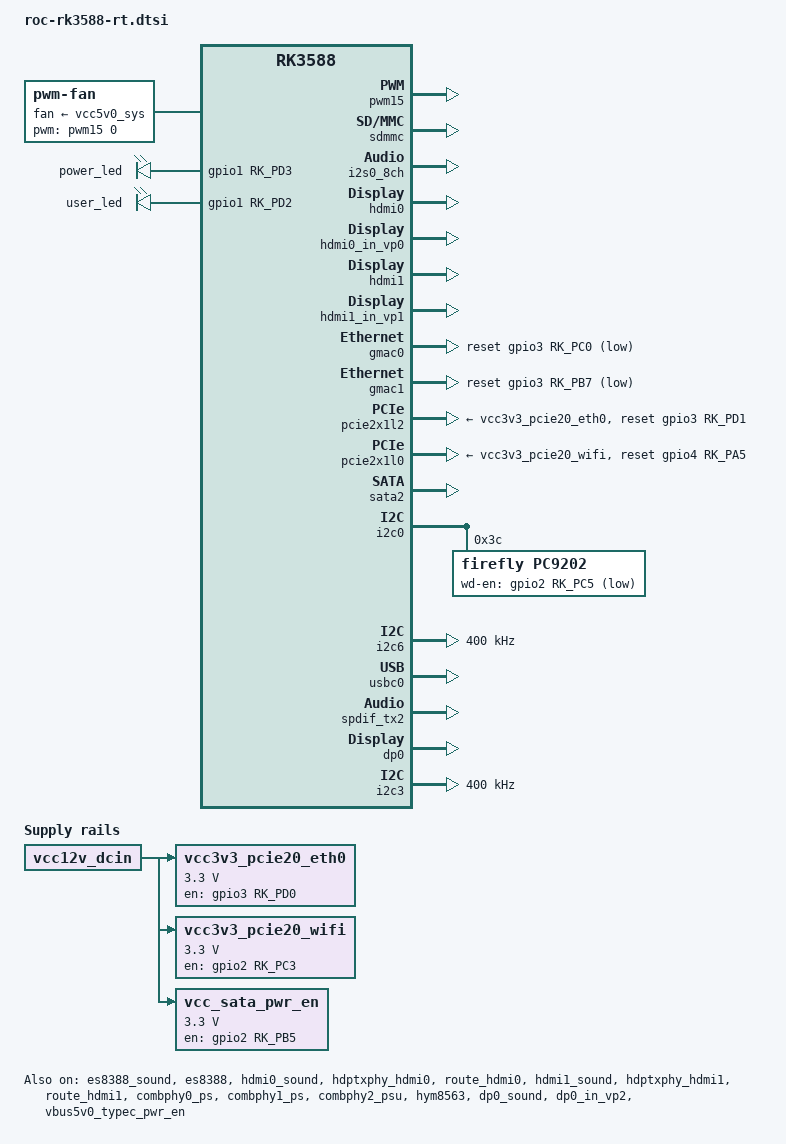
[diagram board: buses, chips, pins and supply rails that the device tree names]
// SPDX-License-Identifier: (GPL-2.0+ OR MIT)
/*
 * Copyright (c) 2021 Rockchip Electronics Co., Ltd.
 *
 */
 
 #define rk3588
 #include "rk3588-firefly-port.dtsi"
 #include "rk3588-diff.dtsi"
 

 / {
	chosen: chosen {
		bootargs = "earlycon=uart8250,mmio32,0xfeb50000 console=ttyFIQ0 irqchip.gicv3_pseudo_nmi=0 root=PARTLABEL=rootfs rootfstype=ext4 ro rootwait overlayroot=device:dev=PARTLABEL=userdata,fstype=ext4,mkfs=1 coherent_pool=1m systemd.gpt_auto=0 cgroup_enable=memory swapaccount=1 net.ifnames=0";
	};

	vcc3v3_pcie20_eth0: vcc3v3-pcie20-eth0 {
		compatible = "regulator-fixed";
		regulator-name = "vcc3v3_pcie20_eth0";
		regulator-min-microvolt = <3300000>;
		regulator-max-microvolt = <3300000>;
		enable-active-high;
		gpios = <&gpio3 RK_PD0 GPIO_ACTIVE_HIGH>;
		startup-delay-us = <5000>;
		vin-supply = <&vcc12v_dcin>;
	};
        vcc3v3_pcie20_wifi: vcc3v3-pcie20-wifi {
                compatible = "regulator-fixed";
                regulator-name = "vcc3v3_pcie20_wifi";
                regulator-min-microvolt = <3300000>;
                regulator-max-microvolt = <3300000>;
                enable-active-high;
                gpios = <&gpio2 RK_PC3 GPIO_ACTIVE_HIGH>; /* wifi_reg_on管脚 */
                startup-delay-us = <5000>;
                vin-supply = <&vcc12v_dcin>;
        };
	/* FAN */
	fan: pwm-fan {
		compatible = "pwm-fan";
		#cooling-cells = <2>;
		fan-supply = <&vcc5v0_sys>;
		pwms = <&pwm15 0 50000 0>;
		cooling-levels = <0 85/*1*/ 95 105 115 125 135 145 155/*8*/ 165 175 185 195 205 215 225 235 245 255/*18*/>;
	};

	/*For ext board public overlay -> start*/
	reset_ctrl_4_5g: reset-ctrlt_4_5g {		/* on ext board */
		status = "disabled";
	};	
	vcc3v3_sys_ext: vcc3v3-sys-ext {		/* on ext board */
		status = "disabled";
	};
	vcc5v0_sys_ext: vcc5v0-sys-ext {		/* on ext board */
		status = "disabled";
	};
	vcc3v8_4g_ext: vcc3v8-4g-ext {			/* on ext board */
		status = "disabled";
	};
	/*For ext board public overlay <- end*/

	/*For ext-usb3 board overlay -> start*/
	vcc_hub3_reset_ext: vcc-hub3-reset-ext {	/* on ext board */
		status = "disabled"; 
	};
	usb3_host_ext: usb3-host-ext {	/* on ext board */
		status = "disabled";		
	};	
	/*For ext-usb3 board overlay <- end*/


	/*For ext-switch board overlay -> start*/
	dvddio_rtl8367n_power_ext: dvddio-rtl8367n-power-ext {	/* on ext board */
		status = "disabled";
	};
	avddl_rtl8367n_power_ext: avddl-rtl8367n-power-ext {	/* on ext board */
		status = "disabled";		
	};
	/*For ext-switch board overlay <- end*/

	/*For bp-dsi display overlay -> start*/
	backlight: backlight {
		status = "disabled";
	};
	/*For bp-dsi display overlay <- end*/

  /*For ext-mdp board overlay ->start*/
  
  spdif_tx0_dc: spdif-tx0-dc{
	  	status = "disabled";
  };

  spdif_tx0_sound: spdif_tx0_sound{
  		status = "disabled";
  };

  vcc_lt8668_3v3en: vcc-lt8668-3v3en{
   status = "disabled";
  };

  vcc_lt8668_1v1en: vcc-lt8668-1v1en{
  	status = "disabled";
  };

  vcc_lt8668_reset: vcc-lt8668-reset{
    status = "disabled";
  };
  /*For ext-mdp board overlay <- end */
};

&center_thermal {
       thermal-governor = "step_wise";
       polling-delay-passive = <20>; /* milliseconds */
       polling-delay = <1000>; /* milliseconds */

       //thermal-sensors = <&tsadc 0>;
       trips {
               fan_alert0: trip-point-0 {
                       temperature = <30000>;
                       hysteresis = <2000>;
                       type = "active";
               };
               fan_alert1: trip-point-1 {
                       temperature = <50000>;
                       hysteresis = <2000>;
                       type = "active";
               };
               fan_alert2: trip-point-2 {
                       temperature = <60000>;
                       hysteresis = <2000>;
                       type = "active";
               };
               fan_alert3: trip-point-3 {
                       temperature = <70000>;
                       hysteresis = <2000>;
                       type = "active";
               };
       };
       cooling-maps {
               map0 {
                  trip = <&fan_alert0>;
                  cooling-device = <&fan THERMAL_NO_LIMIT 1>;
                  contribution = <1024>;
               };
               map1 {
                       trip = <&fan_alert1>;
                       cooling-device = <&fan 1 8>;
                       contribution = <1024>;
               };
               map2 {
                       trip = <&fan_alert2>;
                       cooling-device = <&fan 1 18>;
                       contribution = <1024>;
               };
               map3 {
                       trip = <&fan_alert3>;
                       cooling-device = <&fan 18 THERMAL_NO_LIMIT>;
                       contribution = <1024>;
               };
       };
};

/* FAN */
&vcc_fan_pwr_en{
	status = "disabled";
	gpio = <&gpio1 RK_PB0 GPIO_ACTIVE_LOW>;  
};
&pwm1{
	pinctrl-0 = <&pwm1m0_pins>;
	status = "disabled";
};
&pwm15{
	pinctrl-0 = <&pwm15m2_pins>;
	status = "okay";	
};
/* Led */
&power_led{
       gpios = <&gpio1 RK_PD3 GPIO_ACTIVE_HIGH>;
       pinctrl-names = "default";
       pinctrl-0 = <&led_power>;
};

&user_led{
       gpios = <&gpio1 RK_PD2 GPIO_ACTIVE_HIGH>;
       pinctrl-names = "default";
       pinctrl-0 = <&led_user>;
};

/* tf-card */
&sdmmc {
	status = "okay";
};

&vcc_sdcard_pwr_en{
	gpio = <&gpio0 RK_PB2 GPIO_ACTIVE_HIGH>; 
	status = "okay";	
};

/* es8323 audio codec */
&es8388_sound{
	status = "okay";
	firefly,not-use-dapm;
	hp-det-gpio = <&gpio1 RK_PC4 GPIO_ACTIVE_HIGH>;
	/delete-property/ spk-con-gpio;
        /delete-property/ pinctrl-names;
        /delete-property/ pinctrl-0;
	hp-con-gpio = <&gpio1 RK_PD5 GPIO_ACTIVE_HIGH>;
};
&es8388{
	status = "okay";
};

&i2s0_8ch{
	status = "okay";
};

/* hdmi0 */
&hdmi0 {
	enable-gpios = <&gpio4 RK_PB0 GPIO_ACTIVE_HIGH>;
	status = "okay";
};

&hdmi0_in_vp0 {
	status = "okay";
};

&hdmi0_sound {
	status = "okay";
};

&hdptxphy_hdmi0 {
	status = "okay";
};

&route_hdmi0{
	status = "okay";
};

/* hdmi1 */
&hdmi1 {
	enable-gpios = <&gpio4 RK_PB1 GPIO_ACTIVE_HIGH>;
	status = "okay";
};

&hdmi1_sound {
	status = "okay";
};

&hdmi1_in_vp1 {
        status = "okay";
};

&hdptxphy_hdmi1 {
	status = "okay";
};

&route_hdmi1{
	status = "okay";
	connect = <&vp1_out_hdmi1>;
};

&display_subsystem {
       clocks = <&hdptxphy_hdmi_clk0>, <&hdptxphy_hdmi_clk1>;
       clock-names = "hdmi0_phy_pll", "hdmi1_phy_pll";
};

&hdptxphy_hdmi_clk0 {
       status = "okay";
};

&hdptxphy_hdmi_clk1 {
       status = "okay";
};

/* gamc0 */
&gmac0 {
	snps,reset-gpio = <&gpio3 RK_PC0 GPIO_ACTIVE_LOW>;
	tx_delay = <0x47>;
	status = "okay";
};

&gmac0_tx_bus2{
    rockchip,pins =
    /* gmac0_txd0 */
    <2 RK_PB6 1 &pcfg_pull_up_drv_level_6>,
    /* gmac0_txd1 */
    <2 RK_PB7 1 &pcfg_pull_up_drv_level_6>,
    /* gmac0_txen */
    <2 RK_PC0 1 &pcfg_pull_none>;
};

&gmac0_rgmii_bus{
	rockchip,pins =
	/* gmac0_rxd2 */
	<2 RK_PA6 1 &pcfg_pull_none>,
	/* gmac0_rxd3 */
	<2 RK_PA7 1 &pcfg_pull_none>,
	/* gmac0_txd2 */
	<2 RK_PB1 1 &pcfg_pull_up_drv_level_6>,
	/* gmac0_txd3 */
	<2 RK_PB2 1 &pcfg_pull_up_drv_level_6>;
};

/* gmac1 */
&gmac1 {
        snps,reset-gpio = <&gpio3 RK_PB7 GPIO_ACTIVE_LOW>;
        tx_delay = <0x42>;
        status = "okay";
};

&gmac1_tx_bus2{
        rockchip,pins =
        /* gmac1_txd0 */
        <3 RK_PB3 1 &pcfg_pull_up_drv_level_6>,
    /* gmac1_txd1 */
        <3 RK_PB4 1 &pcfg_pull_up_drv_level_6>,
        /* gmac1_txen */
        <3 RK_PB5 1 &pcfg_pull_none>;
};

&gmac1_rgmii_bus{
        rockchip,pins =
        /* gmac1_rxd2 */
        <3 RK_PA2 1 &pcfg_pull_none>,
        /* gmac1_rxd3 */
        <3 RK_PA3 1 &pcfg_pull_none>,
        /* gmac1_txd2 */
        <3 RK_PA0 1 &pcfg_pull_up_drv_level_6>,
        /* gmac1_txd3 */
        <3 RK_PA1 1 &pcfg_pull_up_drv_level_6>;
};

/* ETH */
&sata0 {
        status = "disabled";
};

&combphy0_ps {
	status = "okay";
};

&pcie2x1l2{
	reset-gpios = <&gpio3 RK_PD1 GPIO_ACTIVE_HIGH>;
	rockchip,skip-scan-in-resume;
	rockchip,perst-inactive-ms = <400>;
	vpcie3v3-supply = <&vcc3v3_pcie20_eth0>;
	status = "okay";
};

&wireless_bluetooth{
        status = "disabled";
};
/* wifi */
&wireless_wlan{
        wifi_chip_type = "rtl8822ce";
        pinctrl-0 = <&wifi_poweren_gpio>;
	/delete-property/ WIFI,poweren_gpio;
    /delete-property/ WIFI,host_wake_irq;
        status = "disabled";
};

&combphy1_ps {
    status = "okay";
};

&pcie2x1l0{
    reset-gpios = <&gpio4 RK_PA5 GPIO_ACTIVE_HIGH>;
    vpcie3v3-supply = <&vcc3v3_pcie20_wifi>;
    rockchip,skip-scan-in-resume;
    rockchip,perst-inactive-ms = <500>;
    status = "okay";
};

/* SATA */
&sata2 {
    status = "okay";
};

&combphy2_psu {
    status = "okay";
};

&pcie2x1l1{
    status = "disabled";
};

&vcc_sata_pwr_en{
    status = "okay";
    gpio = <&gpio2 RK_PB5 GPIO_ACTIVE_HIGH>;
    regulator-min-microvolt = <3300000>;
    regulator-max-microvolt = <3300000>;
    regulator-always-on;
    enable-active-high;
    startup-delay-us = <5000>;
    vin-supply = <&vcc12v_dcin>;
};

/* usb power */

&vcc_hub3_reset{
	compatible = "regulator-fixed-firefly";
	regulator-fixed-kernel-reset-ms = <3000>;
	status = "disabled";
};

&vcc5v0_host3{
	gpio = <&gpio1 RK_PA2 GPIO_ACTIVE_HIGH>;  
	status = "okay";
};

&vcc5v0_host{
	gpio = <&gpio1 RK_PA3 GPIO_ACTIVE_HIGH>;  
	status = "okay";
};

&u2phy1_otg { 
       phy-supply = <&vcc5v0_host3>; 
};
&u2phy2_host { 
       phy-supply = <&vcc5v0_host>; 
}; 

&u2phy3_host { 
       phy-supply = <&vcc5v0_host>; 
};

&usbhost3_0{
	status = "disabled";
};
&usbhost_dwc3_0{
	status = "disabled";
};

&i2c0 {
       pinctrl-0 = <&i2c0m2_xfer>;
       pc9202@3c {
               status = "okay";
               compatible = "firefly,pc9202";
               reg = <0x3c>;
               wd-en-gpio = <&gpio2 RK_PC5 GPIO_ACTIVE_LOW>;
       };
};

/* i2c6: delete some dual-defined nodes */
&i2c6 {
	clock-frequency = <400000>; // For others Display Port Screen
	status = "okay";
	///delete-node/ gpio@21;
    pca9555: gpio@21 {
        status = "disabled";
    };
};

/* rtc */
&hym8563{
	interrupt-parent = <&gpio0>;
	interrupts = <RK_PB0 IRQ_TYPE_LEVEL_LOW>;
	status = "okay";
};

&usbc0{
	status = "okay";
	interrupt-parent = <&gpio0>;
	interrupts = <RK_PD3 IRQ_TYPE_LEVEL_LOW>;
};


/* display port0 */
&spdif_tx2{
	status = "okay";
};

&dp0_sound{
	status = "okay";
};

&dp0 {
	status = "okay";
};

&dp0_in_vp2 {
	status = "okay";
};

&vbus5v0_typec_pwr_en{
	status = "okay";
    regulator-boot-on;
	gpio = <&gpio1 RK_PA4 GPIO_ACTIVE_HIGH>; 
};

/* Key : Recovery */
&adc_keys{
	status = "okay";
	recovery-key{
		label = "F12";
		linux,code = <KEY_F12>;
		press-threshold-microvolt = <642000>;
	};
};

&i2c3 {
	status = "okay";
	pinctrl-names = "default";
	pinctrl-0 = <&i2c3m0_xfer>;
	clock-frequency = <400000>;
};

/* uart7 */
&uart7 {
	status = "disabled";
	pinctrl-0 = <&uart7m2_xfer>;
};

/* pinctrl */
&pinctrl {
	leds {
		led_power: led-power {
			rockchip,pins = <1 RK_PD3 RK_FUNC_GPIO &pcfg_pull_none>;
		};
		led_user: led-user{
			rockchip,pins = <1 RK_PD2 RK_FUNC_GPIO &pcfg_pull_none>;
		};
 	};
        headphone {
                hp_det: hp-det {
                        rockchip,pins = <1 RK_PC4 RK_FUNC_GPIO &pcfg_pull_none>;
                };
        };

	/delete-node/ headphone;
        hdmirx {
                hdmirx_det: hdmirx-det {
                        rockchip,pins = <1 RK_PD5 RK_FUNC_GPIO &pcfg_pull_up>;
                };
        };

	hym8563 {
		hym8563_int: hym8563-int {
			rockchip,pins = <0 RK_PB0 RK_FUNC_GPIO &pcfg_pull_up>;
		};
	};

	usb-typec { 
		usbc0_int: usbc0-int { 
			rockchip,pins = <0 RK_PD3 RK_FUNC_GPIO &pcfg_pull_up>; 
		}; 
	};

	wireless-bluetooth {
		uart6_gpios: uart6-gpios {
			rockchip,pins = <1 RK_PA2 RK_FUNC_GPIO &pcfg_pull_none>;
		};

		bt_reset_gpio: bt-reset-gpio {
			rockchip,pins = <0 RK_PC6 RK_FUNC_GPIO &pcfg_pull_none>;
		};

		bt_wake_gpio: bt-wake-gpio {
			rockchip,pins = <0 RK_PC5 RK_FUNC_GPIO &pcfg_pull_none>;
		};

		bt_irq_gpio: bt-irq-gpio {
			rockchip,pins = <0 RK_PA0 RK_FUNC_GPIO &pcfg_pull_down>;
		};
	};

	wireless-wlan {
		wifi_poweren_gpio: wifi-poweren-gpio {
			rockchip,pins = <2 RK_PC3 RK_FUNC_GPIO &pcfg_pull_up>;
		};
	};
};
